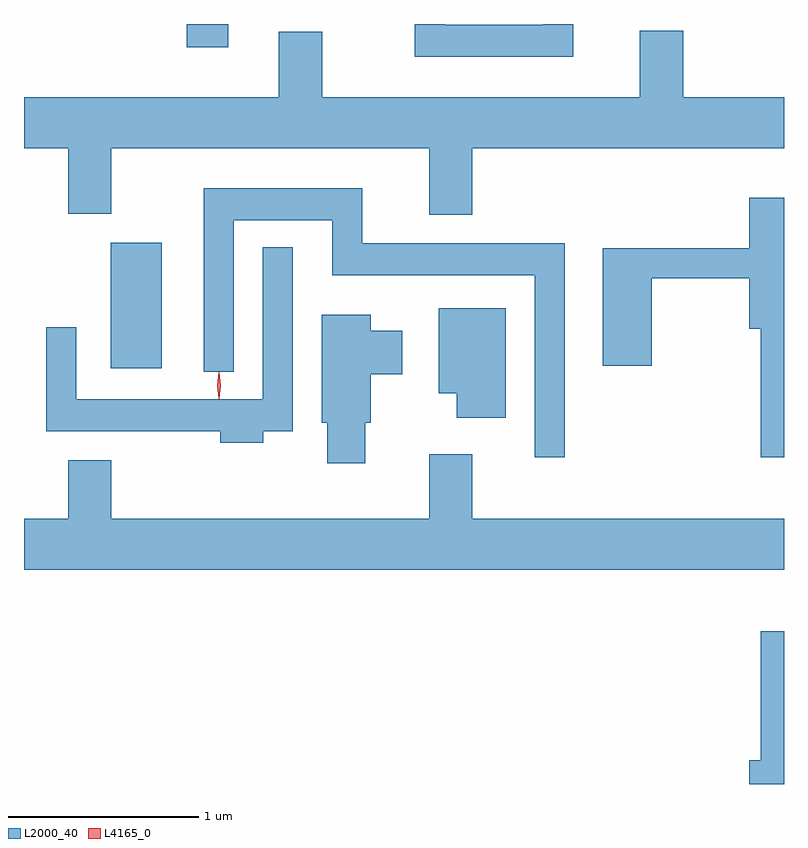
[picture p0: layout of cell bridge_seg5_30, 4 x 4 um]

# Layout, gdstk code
import gdstk
lib = gdstk.Library(unit=1e-6, precision=1e-09)
def R(c, l, rs):  # rectangles x0, y0, x1, y1
    for r in rs: c.add(gdstk.rectangle(r[:2], r[2:], *l))
def P(c, l, *ps):  # polygons
    for p in ps: c.add(gdstk.Polygon(p, *l))
L2000_40 = (2000, 40)
L4165_0 = (4165, 0)

bridge_seg5_30 = lib.new_cell('bridge_seg5_30')
R(bridge_seg5_30, L2000_40, [(1343.766,1473.396,1344.034,1474.059), (1344.166,1475.086,1344.384,1475.209)])
P(bridge_seg5_30, L2000_40, [(1346.199,1475.209),(1346.041,1475.209),(1346.041,1475.204),(1345.524,1475.204),(1345.524,1475.209),(1345.366,1475.209),(1345.366,1475.036),(1346.199,1475.036)],
  [(1345.669,1474.556),(1347.309,1474.556),(1347.309,1474.824),(1346.779,1474.824),(1346.779,1475.174),(1346.551,1475.174),(1346.551,1474.824),(1344.879,1474.824),(1344.879,1475.169),(1344.651,1475.169),(1344.651,1474.824),(1343.309,1474.824),(1343.309,1474.556),(1343.541,1474.556),(1343.541,1474.211),(1343.769,1474.211),(1343.769,1474.556),(1345.441,1474.556),(1345.441,1474.206),(1345.669,1474.206)],
  [(1346.154,1474.054),(1345.089,1474.054),(1345.089,1474.344),(1344.256,1474.344),(1344.256,1473.378),(1344.414,1473.378),(1344.414,1474.176),(1344.931,1474.176),(1344.931,1473.886),(1345.996,1473.886),(1345.996,1472.928),(1346.154,1472.928)],
  [(1347.309,1474.294),(1347.126,1474.294),(1347.126,1474.029),(1346.356,1474.029),(1346.356,1473.411),(1346.614,1473.411),(1346.614,1473.871),(1347.126,1473.871),(1347.126,1473.606),(1347.186,1473.606),(1347.186,1472.928),(1347.309,1472.928)],
  [(1344.569,1473.066),(1344.724,1473.066),(1344.724,1474.033),(1344.566,1474.033),(1344.566,1473.234),(1343.584,1473.234),(1343.584,1473.613),(1343.426,1473.613),(1343.426,1473.066),(1344.341,1473.066),(1344.341,1473.006),(1344.569,1473.006)],
  [(1345.844,1473.714),(1345.491,1473.714),(1345.491,1473.266),(1345.586,1473.266),(1345.586,1473.136),(1345.844,1473.136)],
  [(1345.104,1473.111),(1345.134,1473.111),(1345.134,1473.366),(1345.299,1473.366),(1345.299,1473.594),(1345.134,1473.594),(1345.134,1473.679),(1344.876,1473.679),(1344.876,1473.111),(1344.906,1473.111),(1344.906,1472.896),(1345.104,1472.896)],
  [(1347.309,1472.604),(1345.669,1472.604),(1345.669,1472.944),(1345.441,1472.944),(1345.441,1472.604),(1343.769,1472.604),(1343.769,1472.914),(1343.541,1472.914),(1343.541,1472.604),(1343.309,1472.604),(1343.309,1472.336),(1347.309,1472.336)],
  [(1347.309,1472.013),(1347.186,1472.013),(1347.186,1471.334),(1347.126,1471.334),(1347.126,1471.209),(1347.309,1471.209)])
P(bridge_seg5_30, L4165_0, [(1344.334,1473.237),(1344.325,1473.306),(1344.334,1473.376),(1344.335,1473.376),(1344.336,1473.376),(1344.345,1473.306),(1344.336,1473.237),(1344.335,1473.237)],
  [(1344.335,1473.239),(1344.334,1473.24),(1344.325,1473.306),(1344.334,1473.372),(1344.335,1473.373),(1344.335,1473.372),(1344.345,1473.306),(1344.335,1473.24)])

lib.write_gds('bridge_seg5_30.gds')
